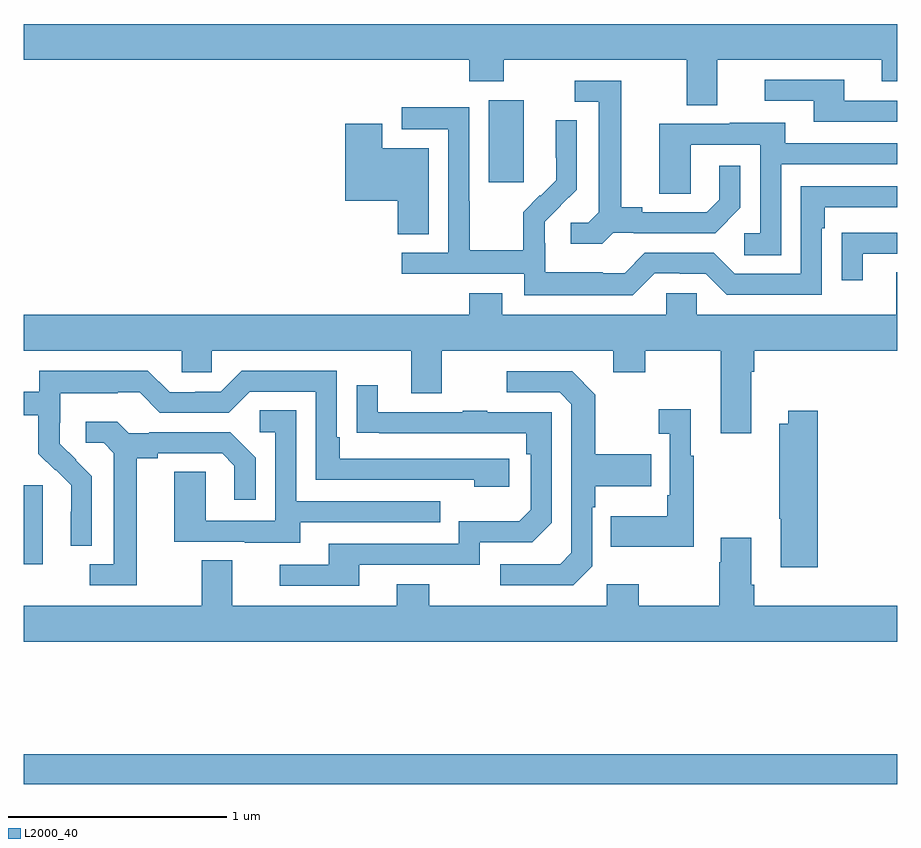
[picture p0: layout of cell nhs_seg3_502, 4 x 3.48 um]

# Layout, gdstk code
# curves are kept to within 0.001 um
import gdstk
lib = gdstk.Library(unit=1e-6, precision=1e-09)
def R(c, l, rs):  # rectangles x0, y0, x1, y1
    for r in rs: c.add(gdstk.rectangle(r[:2], r[2:], *l))
def P(c, l, *ps):  # polygons
    for p in ps: c.add(gdstk.Polygon(p, *l))
L2000_40 = (2000, 40)

nhs_seg3_502 = lib.new_cell('nhs_seg3_502')
R(nhs_seg3_502, L2000_40, [(135,730.9,139,731.036), (135,731.906,135.088,732.267), (137.129,733.656,137.29,734.032)])
P(nhs_seg3_502, L2000_40, [(138.175,734.216),(138.929,734.216),(138.929,734.117),(139,734.117),(139,734.38),(135,734.38),(135,734.216),(137.039,734.216),(137.039,734.117),(137.199,734.117),(137.199,734.216),(138.035,734.216),(138.035,734.008),(138.175,734.008)],
  [(139,734.028),(138.757,734.028),(138.757,734.124),(138.393,734.124),(138.393,734.028),(138.617,734.028),(138.617,733.932),(139,733.932)],
  [(137.7,733.425),(137.794,733.425),(137.794,733.422),(138.166,733.422),(138.282,733.538),(138.282,733.732),(138.185,733.732),(138.185,733.575),(138.128,733.518),(137.833,733.518),(137.833,733.541),(137.737,733.541),(137.737,734.121),(137.523,734.121),(137.523,734.025),(137.633,734.025),(137.633,733.517),(137.586,733.47),(137.505,733.47),(137.505,733.373),(137.648,733.373)],
  [(137.889,733.239),(138.005,733.239),(138.005,733.236),(138.123,733.236),(138.219,733.14),(138.654,733.14),(138.654,733.445),(138.667,733.445),(138.667,733.542),(139,733.542),(139,733.638),(138.558,733.638),(138.558,733.236),(138.255,733.236),(138.159,733.332),(137.844,733.332),(137.751,733.239),(137.651,733.239),(137.651,733.243),(137.388,733.243),(137.388,733.377),(137.386,733.377),(137.386,733.474),(137.532,733.622),(137.532,733.94),(137.435,733.94),(137.435,733.768),(137.438,733.768),(137.438,733.664),(137.367,733.593),(137.364,733.596),(137.287,733.519),(137.287,733.345),(137.043,733.345),(137.043,733.568),(137.04,733.568),(137.04,733.998),(136.731,733.998),(136.731,733.899),(136.944,733.899),(136.944,733.332),(136.731,733.332),(136.731,733.236),(137.292,733.236),(137.292,733.139),(137.789,733.139)],
  [(138.468,733.737),(139,733.737),(139,733.833),(138.487,733.833),(138.487,733.927),(138.233,733.927),(138.233,733.923),(137.909,733.923),(137.909,733.603),(138.054,733.603),(138.054,733.827),(138.372,733.827),(138.372,733.422),(138.3,733.422),(138.3,733.321),(138.468,733.321)],
  [(136.855,733.81),(136.642,733.81),(136.642,733.924),(136.472,733.924),(136.472,733.571),(136.712,733.571),(136.712,733.417),(136.855,733.417)],
  [(138.841,733.329),(139,733.329),(139,733.425),(138.847,733.425),(138.847,733.424),(138.745,733.424),(138.745,733.206),(138.841,733.206)],
  [(138.331,732.788),(138.344,732.788),(138.344,732.884),(139,732.884),(139,733.243),(138.995,733.243),(138.995,733.048),(138.081,733.048),(138.081,733.146),(137.943,733.146),(137.943,733.048),(137.191,733.048),(137.191,733.147),(137.039,733.147),(137.039,733.048),(135,733.048),(135,732.884),(135.723,732.884),(135.723,732.786),(135.861,732.786),(135.861,732.884),(136.775,732.884),(136.775,732.69),(136.915,732.69),(136.915,732.884),(137.699,732.884),(137.699,732.785),(137.847,732.785),(137.847,732.884),(138.191,732.884),(138.191,732.507),(138.331,732.507)],
  [(135.312,732.31),(135.166,732.458),(135.166,732.555),(135.168,732.555),(135.168,732.689),(135.431,732.689),(135.431,732.693),(135.531,732.693),(135.624,732.6),(135.939,732.6),(136.035,732.696),(136.338,732.696),(136.338,732.294),(137.063,732.294),(137.063,732.26),(137.224,732.26),(137.224,732.39),(136.447,732.39),(136.447,732.487),(136.434,732.487),(136.434,732.792),(135.999,732.792),(135.903,732.696),(135.785,732.696),(135.785,732.693),(135.669,732.693),(135.569,732.793),(135.072,732.793),(135.072,732.696),(135,732.696),(135,732.588),(135.067,732.588),(135.067,732.413),(135.144,732.336),(135.147,732.339),(135.218,732.269),(135.218,732.146),(135.216,732.146),(135.216,731.992),(135.312,731.992)],
  [(137.604,731.898),(137.604,732.167),(137.617,732.167),(137.617,732.263),(137.873,732.263),(137.873,732.411),(137.617,732.411),(137.617,732.683),(137.511,732.789),(137.211,732.789),(137.211,732.693),(137.454,732.693),(137.508,732.639),(137.508,731.958),(137.457,731.907),(137.181,731.907),(137.181,731.811),(137.517,731.811)],
  [(136.537,731.904),(137.088,731.904),(137.088,732.006),(137.328,732.006),(137.418,732.096),(137.418,732.603),(137.123,732.603),(137.123,732.608),(137.011,732.608),(137.011,732.603),(136.621,732.603),(136.621,732.727),(136.525,732.727),(136.525,732.508),(137.302,732.507),(137.302,732.41),(137.322,732.41),(137.322,732.156),(137.269,732.103),(136.992,732.103),(136.992,732),(136.397,732),(136.397,731.904),(136.173,731.904),(136.173,731.808),(136.537,731.808)],
  [(138.067,732.403),(138.055,732.403),(138.055,732.616),(137.907,732.616),(137.907,732.503),(137.958,732.503),(137.958,732.223),(137.946,732.223),(137.946,732.127),(137.689,732.127),(137.689,731.987),(138.067,731.987)],
  [(136.267,732.099),(136.907,732.099),(136.907,732.195),(136.248,732.195),(136.248,732.611),(136.08,732.611),(136.08,732.51),(136.152,732.51),(136.152,732.105),(135.834,732.105),(135.834,732.329),(135.689,732.329),(135.689,732.009),(136.013,732.009),(136.013,732.005),(136.267,732.005)],
  [(138.635,732.61),(138.5,732.61),(138.5,732.55),(138.46,732.55),(138.46,732.115),(138.467,732.115),(138.467,731.892),(138.635,731.892)],
  [(135.517,732.392),(135.613,732.392),(135.613,732.414),(135.908,732.414),(135.965,732.357),(135.965,732.201),(136.062,732.201),(136.062,732.394),(135.946,732.51),(135.574,732.51),(135.574,732.507),(135.48,732.507),(135.428,732.559),(135.285,732.559),(135.285,732.462),(135.366,732.462),(135.413,732.415),(135.413,731.907),(135.303,731.907),(135.303,731.811),(135.517,731.811)],
  [(139,731.716),(138.344,731.716),(138.344,731.812),(138.331,731.812),(138.331,732.028),(138.191,732.028),(138.191,731.915),(138.184,731.915),(138.184,731.716),(137.817,731.716),(137.817,731.815),(137.67,731.815),(137.67,731.716),(136.857,731.716),(136.857,731.815),(136.709,731.815),(136.709,731.716),(135.955,731.716),(135.955,731.924),(135.815,731.924),(135.815,731.716),(135,731.716),(135,731.552),(139,731.552)])

lib.write_gds('nhs_seg3_502.gds')
